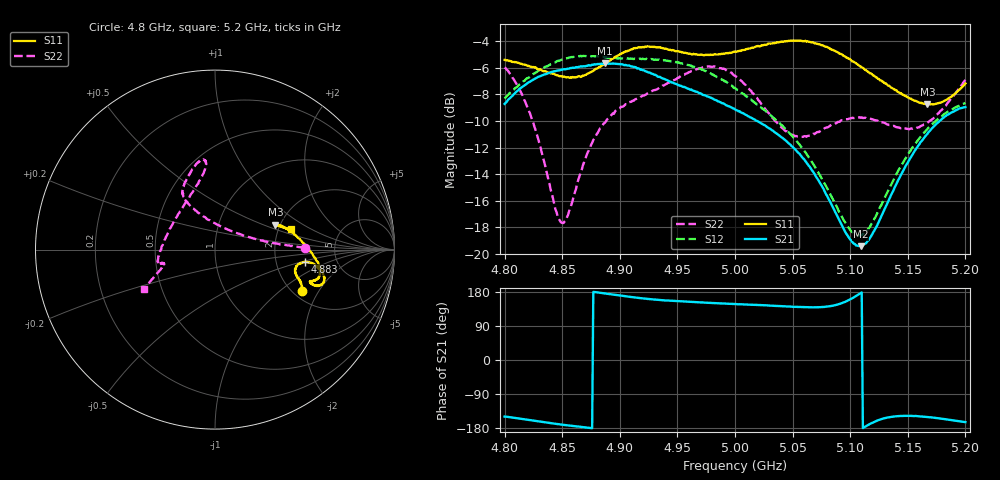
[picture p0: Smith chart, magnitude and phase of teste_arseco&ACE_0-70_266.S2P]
! Network Analyzer HP8722D
! Hewlett-Packard
! Data name: Linha & Wilkinson
! Saver's name: Rodrigo Anjos
! Comments: Teste da utilização de aquisição
! continua pelo VNA HP8722D
! Time and date: 8/5/2025 14:58
!  Frequency  S11  S21  S12  S22
# HZ  S  MA R 50
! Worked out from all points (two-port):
!   401 points, 4.8 GHz to 5.2 GHz, reference 50 ohm
!   highest |S21| = -5.69 dB at 4.887 GHz (marker M1); lowest = -19.4 dB at 5.109 GHz (marker M2)
!   |S21| within 3 dB of the highest: 4.8 GHz to 4.99 GHz (189.6 MHz wide, 3.87 % of centre)
!   lowest |S11| = -8.8 dB at 5.167 GHz (marker M3), VSWR 2.15, Z = 94.5 + j30.3 ohm
!   |S11| at or under -10 dB: nowhere
!   |S22| runs from -17.7 to -5.9 dB; largest |S21 - S12| = 1.1
!   S11 on the Smith chart (normalised r, x): 4.8 GHz: 2.24, -1.44; 4.883 GHz: 2.93, -0.53; 5.2 GHz: 2.33, +0.65
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4.8e9  0.5355 -25.3  0.3661 -149.3  0.3835 10.2  0.5009 1.2
4.812e9  0.5217 -22.2  0.4128 -154.1  0.4295 8.5  0.422 2.7
4.823e9  0.5049 -20.3  0.4465 -159.0  0.4667 6.9  0.3273 6.3
4.848e9  0.4648 -15.9  0.4891 -169.9  0.5331 3.1  0.1335 55.4
4.854e9  0.461 -14.5  0.4951 -172.2  0.5433 2.1  0.1371 81.1
4.867e9  0.4646 -11.1  0.5053 -176.8  0.5522 0.1  0.2076 111.8
4.883e9  0.5047 -7.7  0.5171 177.3  0.5494 -1.2  0.2967 120.4
4.887e9  0.5179 -7.6  0.5195 175.9  0.5483 -1.1  0.3108 120.6
4.912e9  0.591 -10.8  0.5038 165.4  0.5392 -0.6  0.3763 118.7
4.934e9  0.5974 -15.7  0.4626 158.4  0.537 -1.7  0.4199 112.3
4.975e9  0.5591 -18.8  0.3921 151.3  0.4852 -5.2  0.5049 98.8
5e9  0.575 -19.5  0.3488 147.7  0.42 -5.4  0.4665 96.3
5.018e9  0.6005 -19.5  0.3173 145.5  0.3676 -2.6  0.3897 103.4
5.044e9  0.6293 -17.5  0.2669 141.4  0.2945 2.8  0.2893 131.4
5.067e9  0.6228 -13.3  0.2059 139.1  0.2214 9.4  0.2806 164.7
5.098e9  0.5436 -2.6  0.1169 157.0  0.1264 37.7  0.3207 -170.8
5.109e9  0.5053 2.5  0.1071 176.4  0.1178 59.5  0.3246 -167.3
5.118e9  0.4762 7.1  0.1164 -167.5  0.1289 77.0  0.3217 -165.9
5.134e9  0.4278 14.8  0.1611 -150.9  0.1768 94.7  0.3047 -165.7
5.167e9  0.3645 22.4  0.2825 -150.6  0.295 102.2  0.3106 -161.4
5.183e9  0.3781 20.3  0.3297 -156.4  0.3379 102.2  0.3606 -156.6
5.2e9  0.4368 14.9  0.3559 -164.0  0.3692 102.6  0.4502 -150.8
